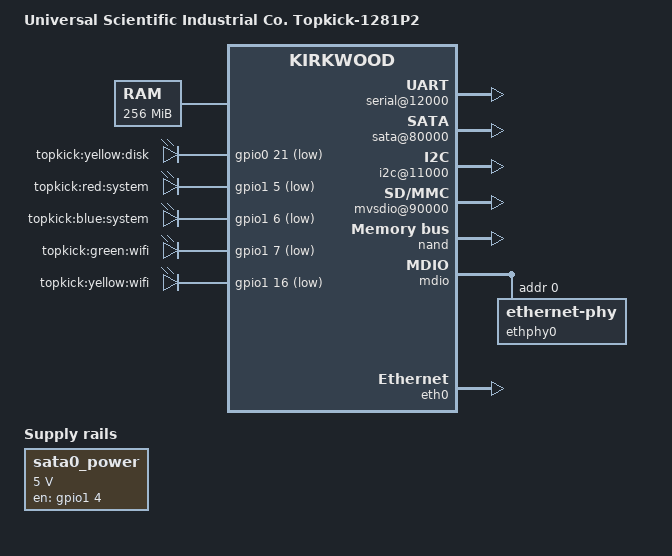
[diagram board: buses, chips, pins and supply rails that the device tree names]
// SPDX-License-Identifier: GPL-2.0
/dts-v1/;

#include "kirkwood.dtsi"
#include "kirkwood-6282.dtsi"

/ {
	model = "Universal Scientific Industrial Co. Topkick-1281P2";
	compatible = "usi,topkick-1281P2", "usi,topkick", "marvell,kirkwood-88f6282", "marvell,kirkwood";

	memory {
		device_type = "memory";
		reg = <0x00000000 0x10000000>;
	};

	chosen {
		bootargs = "console=ttyS0,115200n8 earlyprintk";
		stdout-path = &uart0;
	};

	ocp@f1000000 {
		pinctrl: pin-controller@10000 {
			/*
			 * Switch positions
			 *
			 *     /-SW_LEFT(2)
			 *     |
			 *     |   /-SW_IDLE
			 *     |   |
			 *     |   |   /-SW_RIGHT
			 *     |   |   |
			 * PS [L] [I] [R] LEDS
			 */
			pinctrl-0 = <&pmx_sw_left &pmx_sw_right
				     &pmx_sw_idle &pmx_sw_left2>;
			pinctrl-names = "default";

			pmx_led_disk_yellow: pmx-led-disk-yellow {
				marvell,pins = "mpp21";
				marvell,function = "gpio";
			};

			pmx_sata0_pwr_enable: pmx-sata0-pwr-enable {
				marvell,pins = "mpp36";
				marvell,function = "gpio";
			};

			pmx_led_sys_red: pmx-led-sys-red {
				marvell,pins = "mpp37";
				marvell,function = "gpio";
			};

			pmx_led_sys_blue: pmx-led-sys-blue {
				marvell,pins = "mpp38";
				marvell,function = "gpio";
			};

			pmx_led_wifi_green: pmx-led-wifi-green {
				marvell,pins = "mpp39";
				marvell,function = "gpio";
			};

			pmx_sw_left: pmx-sw-left {
				marvell,pins = "mpp43";
				marvell,function = "gpio";
			};

			pmx_sw_right: pmx-sw-right {
				marvell,pins = "mpp44";
				marvell,function = "gpio";
			};

			pmx_sw_idle: pmx-sw-idle {
				marvell,pins = "mpp45";
				marvell,function = "gpio";
			};

			pmx_sw_left2: pmx-sw-left2 {
				marvell,pins = "mpp46";
				marvell,function = "gpio";
			};

			pmx_led_wifi_yellow: pmx-led-wifi-yellow {
				marvell,pins = "mpp48";
				marvell,function = "gpio";
			};
		};

		serial@12000 {
			status = "okay";
		};

		sata@80000 {
			status = "okay";
			nr-ports = <1>;
		};

		i2c@11000 {
			status = "okay";
		};

		mvsdio@90000 {
			pinctrl-0 = <&pmx_sdio>;
			pinctrl-names = "default";
			status = "okay";
			/* No CD or WP GPIOs */
			broken-cd;
		};
	};

	gpio-leds {
		/*
		 * GPIO LED layout
		 *
		 *       /-SYS_LED(2)
		 *       |
		 *       |   /-DISK_LED
		 *       |   |
		 *       |   |   /-WLAN_LED(2)
		 *       |   |   |
		 * [SW] [*] [*] [*]
		 */

		compatible = "gpio-leds";
		pinctrl-0 = <&pmx_led_disk_yellow &pmx_led_sys_red
			     &pmx_led_sys_blue &pmx_led_wifi_green
			     &pmx_led_wifi_yellow>;
		pinctrl-names = "default";

		disk {
			label = "topkick:yellow:disk";
			gpios = <&gpio0 21 GPIO_ACTIVE_LOW>;
			linux,default-trigger = "disk-activity";
		};
		system2 {
			label = "topkick:red:system";
			gpios = <&gpio1 5 GPIO_ACTIVE_LOW>;
		};
		system {
			label = "topkick:blue:system";
			gpios = <&gpio1 6 GPIO_ACTIVE_LOW>;
			default-state = "on";
		};
		wifi {
			label = "topkick:green:wifi";
			gpios = <&gpio1 7 GPIO_ACTIVE_LOW>;
		};
		wifi2 {
			label = "topkick:yellow:wifi";
			gpios = <&gpio1 16 GPIO_ACTIVE_LOW>;
		};
	};
	regulators {
		compatible = "simple-bus";
		#address-cells = <1>;
		#size-cells = <0>;
		pinctrl-0 = <&pmx_sata0_pwr_enable>;
		pinctrl-names = "default";

		sata0_power: regulator@1 {
			compatible = "regulator-fixed";
			reg = <1>;
			regulator-name = "SATA0 Power";
			regulator-min-microvolt = <5000000>;
			regulator-max-microvolt = <5000000>;
			enable-active-high;
			regulator-always-on;
			regulator-boot-on;
			gpio = <&gpio1 4 0>;
		};
	};
};

&nand {
	status = "okay";

	partition@0 {
		label = "u-boot";
		reg = <0x0000000 0x180000>;
	};

	partition@180000 {
		label = "u-boot env";
		reg = <0x0180000 0x20000>;
	};

	partition@200000 {
		label = "uImage";
		reg = <0x0200000 0x600000>;
	};

	partition@800000 {
		label = "uInitrd";
		reg = <0x0800000 0x1000000>;
	};

	partition@1800000 {
		label = "rootfs";
		reg = <0x1800000 0xe800000>;
	};
};

&mdio {
	status = "okay";

	ethphy0: ethernet-phy@0 {
		reg = <0>;
	};
};

&eth0 {
	status = "okay";
	ethernet0-port@0 {
		phy-handle = <&ethphy0>;
	};
};
